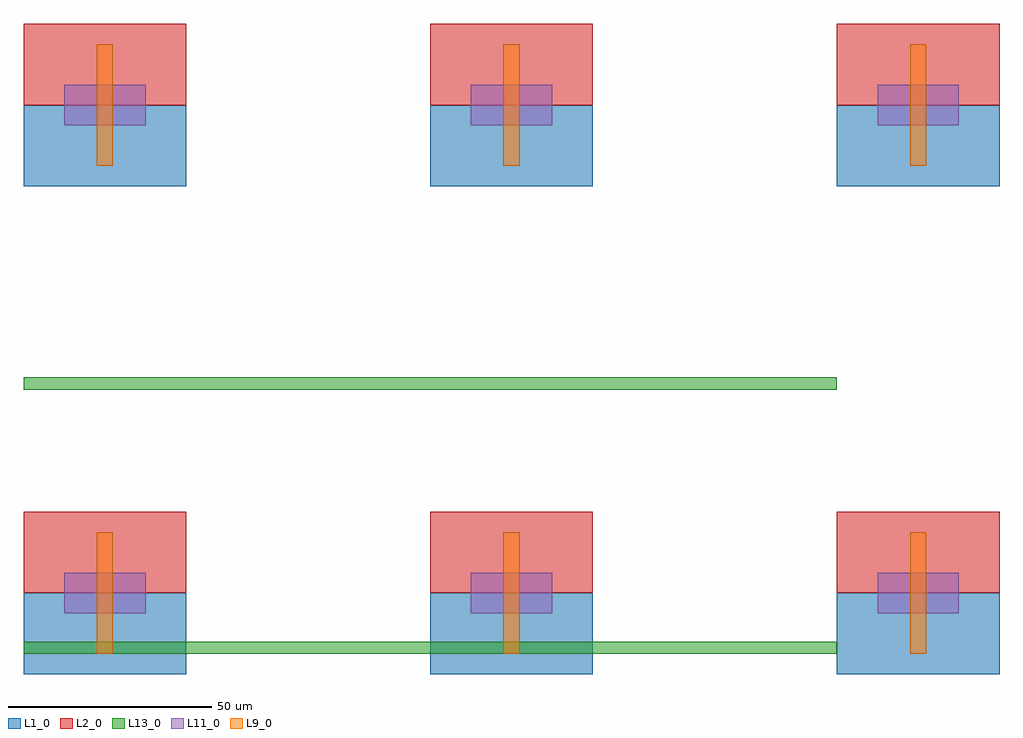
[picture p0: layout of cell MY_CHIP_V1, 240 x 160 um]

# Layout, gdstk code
import gdstk
lib = gdstk.Library(unit=1e-6, precision=1e-09)
def R(c, l, rs):  # rectangles x0, y0, x1, y1
    for r in rs: c.add(gdstk.rectangle(r[:2], r[2:], *l))
L1_0 = (1, 0)
L2_0 = (2, 0)
L9_0 = (9, 0)
L11_0 = (11, 0)
L13_0 = (13, 0)

inv_cell_0 = lib.new_cell('INV_CELL_0')
R(inv_cell_0, L1_0, [(0,0,40,20)])
R(inv_cell_0, L2_0, [(0,20,40,40)])
R(inv_cell_0, L9_0, [(18,5,22,35)])
R(inv_cell_0, L11_0, [(10,15,30,25)])

inv_cell_1 = lib.new_cell('INV_CELL_1')
R(inv_cell_1, L1_0, [(50,0,90,20)])
R(inv_cell_1, L2_0, [(50,20,90,40)])
R(inv_cell_1, L9_0, [(68,5,72,35)])
R(inv_cell_1, L11_0, [(60,15,80,25)])

inv_cell_2 = lib.new_cell('INV_CELL_2')
R(inv_cell_2, L1_0, [(100,0,140,20)])
R(inv_cell_2, L2_0, [(100,20,140,40)])
R(inv_cell_2, L9_0, [(118,5,122,35)])
R(inv_cell_2, L11_0, [(110,15,130,25)])

row_1 = lib.new_cell('ROW_1')
row_1.add(gdstk.Reference(inv_cell_0, (0,0)))
row_1.add(gdstk.Reference(inv_cell_1, (50,0)))
row_1.add(gdstk.Reference(inv_cell_2, (100,0)))

row_2 = lib.new_cell('ROW_2')
row_2.add(gdstk.Reference(inv_cell_0, (0,60)))
row_2.add(gdstk.Reference(inv_cell_1, (50,60)))
row_2.add(gdstk.Reference(inv_cell_2, (100,60)))

my_chip_v1 = lib.new_cell('MY_CHIP_V1')
R(my_chip_v1, L13_0, [(0,5,200,8), (0,70,200,73)])
my_chip_v1.add(gdstk.Reference(row_1, (0,0)))
my_chip_v1.add(gdstk.Reference(row_2, (0,60)))

lib.write_gds('MY_CHIP_V1.gds')
